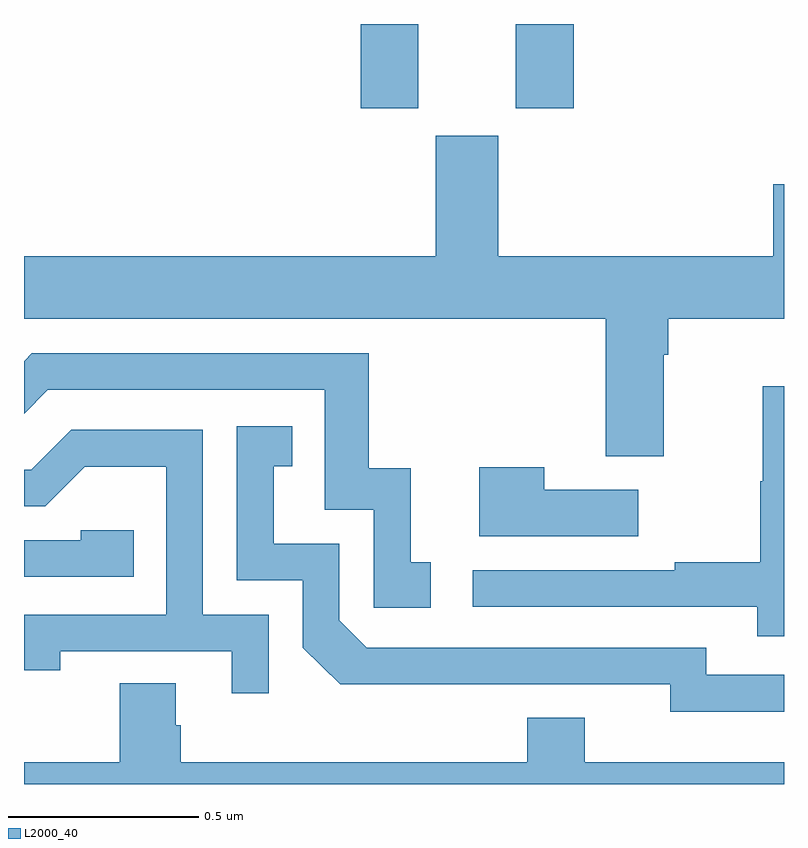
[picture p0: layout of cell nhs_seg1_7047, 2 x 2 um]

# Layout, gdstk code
import gdstk
lib = gdstk.Library(unit=1e-6, precision=1e-09)
def R(c, l, rs):  # rectangles x0, y0, x1, y1
    for r in rs: c.add(gdstk.rectangle(r[:2], r[2:], *l))
def P(c, l, *ps):  # polygons
    for p in ps: c.add(gdstk.Polygon(p, *l))
L2000_40 = (2000, 40)

nhs_seg1_7047 = lib.new_cell('nhs_seg1_7047')
R(nhs_seg1_7047, L2000_40, [(199.886,526.977,200.038,527.199), (200.294,526.977,200.447,527.199)])
P(nhs_seg1_7047, L2000_40, [(200.683,526.328),(200.696,526.328),(200.696,526.424),(201,526.424),(201,526.777),(200.972,526.777),(200.972,526.588),(200.248,526.588),(200.248,526.905),(200.084,526.905),(200.084,526.588),(199,526.588),(199,526.424),(200.531,526.424),(200.531,526.062),(200.683,526.062)],
  [(200.071,525.783),(200.018,525.783),(200.018,526.03),(199.907,526.03),(199.907,526.332),(199.02,526.332),(199,526.312),(199,526.174),(199.062,526.236),(199.791,526.236),(199.791,525.921),(199.92,525.921),(199.92,525.663),(200.071,525.663)],
  [(201,526.246),(200.944,526.246),(200.944,525.996),(200.937,525.996),(200.937,525.782),(200.713,525.782),(200.713,525.762),(200.181,525.762),(200.181,525.666),(200.929,525.666),(200.929,525.588),(201,525.588)],
  [(201,525.486),(200.796,525.486),(200.796,525.558),(199.902,525.558),(199.83,525.63),(199.83,525.831),(199.657,525.831),(199.657,526.035),(199.706,526.035),(199.706,526.141),(199.56,526.141),(199.56,525.735),(199.734,525.735),(199.734,525.558),(199.832,525.461),(200.24,525.461),(200.24,525.462),(200.7,525.462),(200.7,525.389),(201,525.389)],
  [(199.644,525.645),(199.47,525.645),(199.47,526.131),(199.124,526.131),(199.019,526.026),(199,526.026),(199,525.93),(199.056,525.93),(199.16,526.034),(199.374,526.034),(199.374,525.645),(199,525.645),(199,525.498),(199.096,525.498),(199.096,525.549),(199.547,525.549),(199.547,525.438),(199.644,525.438)],
  [(200.617,525.973),(200.369,525.973),(200.369,526.033),(200.198,526.033),(200.198,525.851),(200.617,525.851)],
  [(199.289,525.867),(199.149,525.867),(199.149,525.84),(199,525.84),(199,525.744),(199.289,525.744)],
  [(201,525.256),(200.476,525.256),(200.476,525.373),(200.324,525.373),(200.324,525.256),(199.412,525.256),(199.412,525.354),(199.399,525.354),(199.399,525.464),(199.252,525.464),(199.252,525.256),(199,525.256),(199,525.199),(201,525.199)])

lib.write_gds('nhs_seg1_7047.gds')
